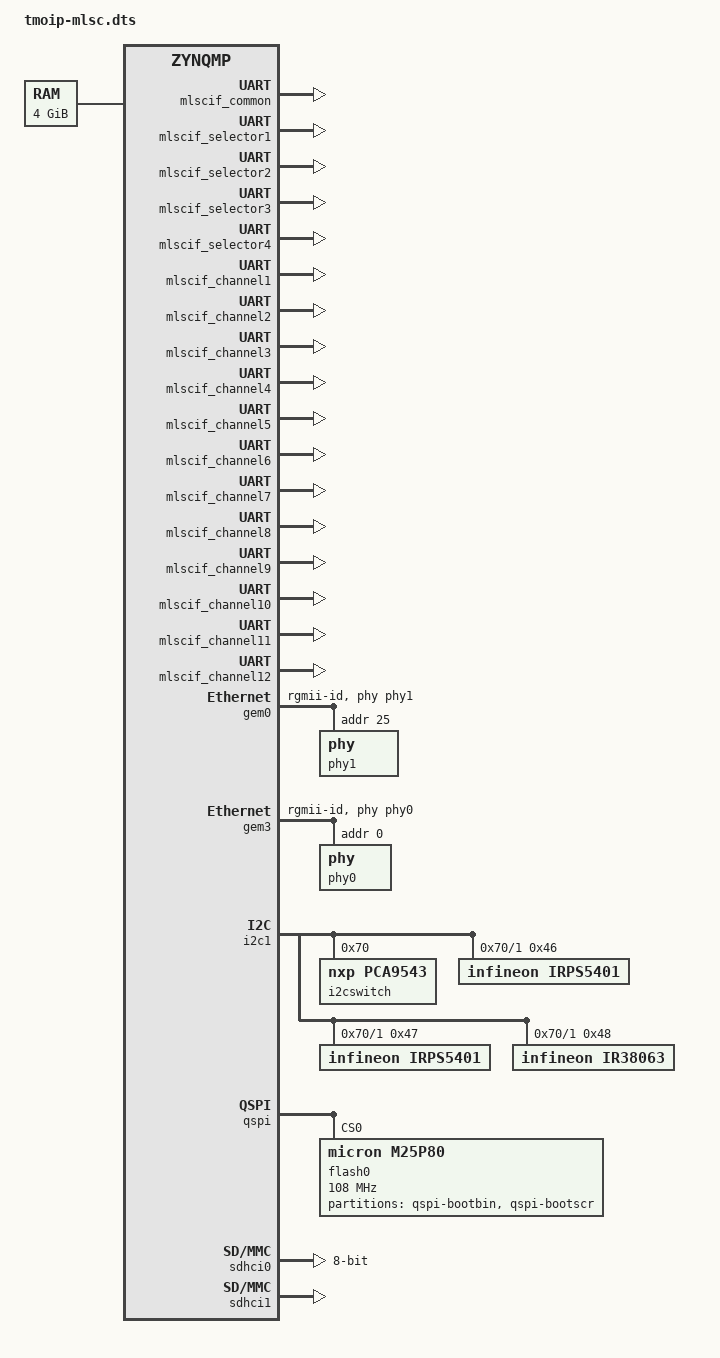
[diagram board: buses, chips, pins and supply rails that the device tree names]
/dts-v1/;
#include "zynqmp.dtsi"
#include "zynqmp-clk-ccf.dtsi"
#include "pl.dtsi"
#include "pcw.dtsi"
#include <dt-bindings/phy/phy.h>
#include <dt-bindings/net/ti-dp83867.h>
#include <dt-bindings/input/input.h>
#include <dt-bindings/gpio/gpio.h>
#include <dt-bindings/pinctrl/pinctrl-zynqmp.h>
#include <dt-bindings/interrupt-controller/irq.h>

/* From include/dt-bindings/clk/versaclock.h */
#define VC5_LVPECL   0
#define VC5_CMOS  1
#define VC5_HCSL33   2
#define VC5_LVDS  3
#define VC5_CMOS2 4
#define VC5_CMOSD 5
#define VC5_HCSL25   6

#define PLATFORM_TYPE_8_CHAN_3EG 0
#define PLATFORM_TYPE_TMOIP_3CH 1
#define PLATFORM_TYPE_TMOIP_12CH 2
#define PLATFORM_TYPE_AVNET_CC7EV 3
#define PLATFORM_TYPE_XILINX_ZCU102 4
#define PLATFORM_TYPE_TMOIP_MLSC 5
#define PLATFORM_TYPE_TMOIP_BSSA 6

/* <psgtr_phandle> <lane_number> <controller_type> <instance> <refclk> */
    
/ {
	chosen {
		bootargs = "earlycon console=ttyPS0,115200 clk_ignore_unused root=/dev/mmcblk1p2 rw rootwait";
		stdout-path = "serial0:115200n8";
	};
	aliases {
		ethernet0 = &gem3;
		ethernet1 = &gem0;
		serial0 = &uart0;
		serial1 = &uart1;
	};
	memory {
		device_type = "memory";
		reg = <0x0 0x0 0x0 0x7ff00000>, <0x00000008 0x00000000 0x0 0x80000000>;
	};

  	reserved-driver@0 {
      	compatible = "xlnx,reserved-memory";
		memory-region = <&reserved_fb>;
   	};	
   	reserved-memory {
        #address-cells = <2>;
        #size-cells = <2>;
		ranges;
  	   reserved_fb: buffer@0 {
           no-map;
		   reg = <0x0 0x10000000 0x0 0x4000000>;
      		   };
   	};

    framebuffer0: framebuffer@10000000 {
         compatible = "simple-framebuffer";
         #address-cells = <2>;
         #size-cells = <2>;
	 reg = <0x0 0x10000000 0x0 (160 * 128 * 2)>;
	 width = <160>;
	 height = <128>;
	 stride = < (160 * 2) >;
	 format = "r5g6b5";
	};
    framebuffer1: framebuffer@11000000 {
         compatible = "simple-framebuffer";
         #address-cells = <2>;
         #size-cells = <2>;
	 reg = <0x0 0x11000000 0x0 (160 * 128 * 2)>;
	 width = <160>;
	 height = <128>;
	 stride = < (160 * 2) >;
	 format = "r5g6b5";
	};
    framebuffer2: framebuffer@12000000 {
         compatible = "simple-framebuffer";
         #address-cells = <2>;
         #size-cells = <2>;
	 reg = <0x0 0x12000000 0x0 (160 * 128 * 2)>;
	 width = <160>;
	 height = <128>;
	 stride = < (160 * 2) >;
	 format = "r5g6b5";
	};
    framebuffer3: framebuffer@13000000 {
         compatible = "simple-framebuffer";
         #address-cells = <2>;
         #size-cells = <2>;
	 reg = <0x0 0x13000000 0x0 (160 * 128 * 2)>;
	 width = <160>;
	 height = <128>;
	 stride = < (160 * 2) >;
	 format = "r5g6b5";
	};
};


&fpd_dma_chan1 {
	status = "okay";
	#dma-cells = <1>;
	xlnx,bus-width = <128>;
};

&fpd_dma_chan2 {
	status = "okay";
	#dma-cells = <1>;
	xlnx,bus-width = <128>;
};

&fpd_dma_chan3 {
	status = "okay";
	#dma-cells = <1>;
	xlnx,bus-width = <128>;
};

&fpd_dma_chan4 {
	status = "okay";
	#dma-cells = <1>;
	xlnx,bus-width = <128>;
};

&amba_pl {
    ddr_mirror0: ddr_mirror@88000000 {
          compatible = "ddr_mirror-1.0";
	      clock-names = "axi_lite_aclk", "axis_in_aclk";
          clocks = <&misc_clk_0>, <&misc_clk_0>;
          reg = <0x0 0x88000000 0x0 0x1000 0x0 0xb8000000 0x0 0x4000000>;
          dmas = <&fpd_dma_chan4 0>;
          dma-names = "dma";
	};
	tmoip_system: tmoip_system@800D0000 {
	   compatible = "tmoip_system-1.0";
       reg = <0x0 0x800D0000 0x0 0x10000 0x0 0xa0100000 0x0 0x10000>;
       interrupt-parent = <&gic>;
       interrupts = <0 92 1>;
       num_channels = <12>;
       platform_type = <PLATFORM_TYPE_TMOIP_MLSC>;
    };
	ch0: channel@80000000 {
	      compatible = "channel-1.0";
	      clock-names = "axi_lite_aclk";
	      clocks = <&misc_clk_0>, <&misc_clk_0>;
	      reg = <0x0 0x80000000 0x0 0x10000>,
              <0x0 0x80010000 0x0 0x10000>,
              <0x0 0x80080000 0x0 0x10000>;
              reg-names = "channel_in", "channel_out", "line_test";                                        
 	      channel_number = <0>;
	      refclk_hz = <300000000>;
              pcmout_init_bitrate = <1000000>;
        };
	bitsync0: bit_sync@80410000 {
	      compatible = "bit_sync-1.0";
	      clock-names = "axi_lite_aclk";
	      clocks = <&misc_clk_0>, <&misc_clk_0>;
	      reg = <0x0 0x80410000 0x0 0x10000>;
              kp_base_msw = <0x00800000>;
              kp_base_lsw = <0x00000000>;
              ki_base_msw = <0x00030000>;
              ki_base_lsw = <0x00000000>;
 	      channel_number = <0>;
 	      perr_thresh = <1500000000>;
	      refclk_hz = <300000000>;
	};
	ch1: channel@80020000 {
	      compatible = "channel-1.0";
	      clock-names = "axi_lite_aclk";
	      clocks = <&misc_clk_0>, <&misc_clk_0>;
	      reg = <0x0 0x80020000 0x0 0x10000>,
                <0x0 0x80030000 0x0 0x10000>,
                <0x0 0x800E0000 0x0 0x10000>;
          reg-names = "channel_in", "channel_out", "line_test";                                        
 		  channel_number = <1>;
		  refclk_hz = <300000000>;
          pcmout_init_bitrate = <1000000>;
    };
	ch2: channel@80040000 {
	      compatible = "channel-1.0";
	      clock-names = "axi_lite_aclk";
	      clocks = <&misc_clk_0>, <&misc_clk_0>;
	      reg = <0x0 0x80040000 0x0 0x10000>,
                <0x0 0x80050000 0x0 0x10000>,
                <0x0 0x800F0000 0x0 0x10000>;
          reg-names = "channel_in", "channel_out", "line_test";                                        
 		  channel_number = <2>;
		  refclk_hz = <300000000>;
          pcmout_init_bitrate = <1000000>;
    };
	ch3: channel@80090000 {
	      compatible = "channel-1.0";
	      clock-names = "axi_lite_aclk";
	      clocks = <&misc_clk_0>, <&misc_clk_0>;
	      reg = <0x0 0x80090000 0x0 0x10000>,
                <0x0 0x800a0000 0x0 0x10000>,
                <0x0 0x800b0000 0x0 0x10000>;
          reg-names = "channel_in", "channel_out", "line_test";                                        
 		  channel_number = <3>;
		  refclk_hz = <300000000>;
          pcmout_init_bitrate = <1000000>;
    };
	clocktrack0: clocktrack@80060000 {
	      compatible = "clocktrack-1.0";
	      clock-names = "axi_lite_aclk";
	      clocks = <&misc_clk_0>, <&misc_clk_0>;
     	  reg = <0x0 0x80060000 0x0 0x10000>;
		  refclk_hz = <300000000>;
	      setpointcenter = <250000>;
	      setpointoffset = <50000>;
	      mincenter = <1500>;
	      minoffset = <300>;
    };
    dma_central0: dma_central@80070000 {
          compatible = "dma_central-1.0";
	      clock-names = "axi_lite_aclk", "axis_in_aclk";
          clocks = <&misc_clk_0>, <&misc_clk_0>;
          interrupt-parent = <&gic>;
          interrupts = <0 89 1>;
          reg = <0x0 0x80070000 0x0 0x1000 0x0 0xb0000000 0x0 0x100000>;
          start_channel = <0>;
          num_channels = <4>;
          int_retry_cnt = <500000>;
          dmas = <&fpd_dma_chan1 0>;
          dma-names = "dma";
	};
	ch4: channel@800c0000 {
	      compatible = "channel-1.0";
	      clock-names = "axi_lite_aclk";
	      clocks = <&misc_clk_0>, <&misc_clk_0>;
	      reg = <0x0 0x800c0000 0x0 0x10000>,
                <0x0 0x802a0000 0x0 0x10000>,
                <0x0 0x80100000 0x0 0x10000>;
          reg-names = "channel_in", "channel_out", "line_test";                                        
 		  channel_number = <4>;
		  refclk_hz = <300000000>;
          pcmout_init_bitrate = <1000000>;
    };
	ch5: channel@80110000 {
	      compatible = "channel-1.0";
	      clock-names = "axi_lite_aclk";
	      clocks = <&misc_clk_0>, <&misc_clk_0>;
	      reg = <0x0 0x80110000 0x0 0x10000>,
                <0x0 0x80120000 0x0 0x10000>,
                <0x0 0x80130000 0x0 0x10000>;
          reg-names = "channel_in", "channel_out", "line_test";                                        
 		  channel_number = <5>;
		  refclk_hz = <300000000>;
          pcmout_init_bitrate = <1000000>;
    };
	ch6: channel@80140000 {
	      compatible = "channel-1.0";
	      clock-names = "axi_lite_aclk";
	      clocks = <&misc_clk_0>, <&misc_clk_0>;
	      reg = <0x0 0x80140000 0x0 0x10000>,
                <0x0 0x80150000 0x0 0x10000>,
                <0x0 0x80160000 0x0 0x10000>;
          reg-names = "channel_in", "channel_out", "line_test";                                        
 		  channel_number = <6>;
		  refclk_hz = <300000000>;
          pcmout_init_bitrate = <1000000>;
    };
	ch7: channel@80170000 {
	      compatible = "channel-1.0";
	      clock-names = "axi_lite_aclk";
	      clocks = <&misc_clk_0>, <&misc_clk_0>;
	      reg = <0x0 0x80170000 0x0 0x10000>,
                <0x0 0x80180000 0x0 0x10000>,
                <0x0 0x80190000 0x0 0x10000>;
          reg-names = "channel_in", "channel_out", "line_test";                                        
 		  channel_number = <7>;
		  refclk_hz = <300000000>;
          pcmout_init_bitrate = <1000000>;
    };
	clocktrack1: clocktrack@801a0000 {
	      compatible = "clocktrack-1.0";
	      clock-names = "axi_lite_aclk";
	      clocks = <&misc_clk_0>, <&misc_clk_0>;
     	  reg = <0x0 0x801a0000 0x0 0x10000>;
		  refclk_hz = <300000000>;
	      setpointcenter = <250000>;
	      setpointoffset = <50000>;
	      mincenter = <1500>;
	      minoffset = <300>;
    };
    dma_central1: dma_central@801b0000 {
          compatible = "dma_central-1.0";
	      clock-names = "axi_lite_aclk", "axis_in_aclk";
          clocks = <&misc_clk_0>, <&misc_clk_0>;
          interrupt-parent = <&gic>;
          interrupts = <0 90 1>;
          reg = <0x0 0x801b0000 0x0 0x1000 0x0 0xa0000000 0x0 0x100000>;
          start_channel = <4>;
          num_channels = <4>;
          int_retry_cnt = <500000>;
          dmas = <&fpd_dma_chan2 0>;
          dma-names = "dma";
	};
	ch8: channel@80220000 {
	      compatible = "channel-1.0";
	      clock-names = "axi_lite_aclk";
	      clocks = <&misc_clk_0>, <&misc_clk_0>;
	      reg = <0x0 0x80220000 0x0 0x10000>,
                <0x0 0x80230000 0x0 0x10000>,
                <0x0 0x80240000 0x0 0x10000>;
          reg-names = "channel_in", "channel_out", "line_test";                                        
 		  channel_number = <8>;
		  refclk_hz = <300000000>;
          pcmout_init_bitrate = <1000000>;
    };
	ch9: channel@80250000 {
	      compatible = "channel-1.0";
	      clock-names = "axi_lite_aclk";
	      clocks = <&misc_clk_0>, <&misc_clk_0>;
	      reg = <0x0 0x80250000 0x0 0x10000>,
                <0x0 0x80260000 0x0 0x10000>,
                <0x0 0x80270000 0x0 0x10000>;
          reg-names = "channel_in", "channel_out", "line_test";                                        
 		  channel_number = <9>;
		  refclk_hz = <300000000>;
          pcmout_init_bitrate = <1000000>;
    };
	ch10: channel@801c0000 {
	      compatible = "channel-1.0";
	      clock-names = "axi_lite_aclk";
	      clocks = <&misc_clk_0>, <&misc_clk_0>;
	      reg = <0x0 0x801c0000 0x0 0x10000>,
                <0x0 0x801d0000 0x0 0x10000>,
                <0x0 0x801e0000 0x0 0x10000>;
          reg-names = "channel_in", "channel_out", "line_test";                                        
 		  channel_number = <10>;
		  refclk_hz = <300000000>;
          pcmout_init_bitrate = <1000000>;
    };
	ch11: channel@801f0000 {
	      compatible = "channel-1.0";
	      clock-names = "axi_lite_aclk";
	      clocks = <&misc_clk_0>, <&misc_clk_0>;
	      reg = <0x0 0x801f0000 0x0 0x10000>,
                <0x0 0x80200000 0x0 0x10000>,
                <0x0 0x80210000 0x0 0x10000>;
          reg-names = "channel_in", "channel_out", "line_test";                                        
 		  channel_number = <11>;
		  refclk_hz = <300000000>;
          pcmout_init_bitrate = <1000000>;
    };
	clocktrack2: clocktrack@80280000 {
	      compatible = "clocktrack-1.0";
	      clock-names = "axi_lite_aclk";
	      clocks = <&misc_clk_0>, <&misc_clk_0>;
     	  reg = <0x0 0x80280000 0x0 0x10000>;
		  refclk_hz = <300000000>;
	      setpointhi = <300000>;
	      setpointcenter = <250000>;
	      setpointoffset = <50000>;
	      mincenter = <1500>;
	      minoffset = <300>;
    };
    dma_central2: dma_central@80290000 {
          compatible = "dma_central-1.0";
	      clock-names = "axi_lite_aclk", "axis_in_aclk";
          clocks = <&misc_clk_0>, <&misc_clk_0>;
          interrupt-parent = <&gic>;
          interrupts = <0 91 1>;
          reg = <0x0 0x80290000 0x0 0x1000 0x0 0xb1000000 0x0 0x100000>;
          start_channel = <8>;
          num_channels = <4>;
          int_retry_cnt = <500000>;
          dmas = <&fpd_dma_chan3 0>;
          dma-names = "dma";
	};
    gth_if_224: gth_if@802e0000 {
       	  compatible = "gth_if-1.0";
     	  reg = <0x0 0x802e0000 0x0 0x10000>;
    };
    gth_if_225: gth_if@80310000 {
       	  compatible = "gth_if-1.0";
     	  reg = <0x0 0x80310000 0x0 0x10000>;
    };
    si5338: si5338@803C0000 {
       	  compatible = "si5338-1.0";
     	  reg = <0x0 0x803C0000 0x0 0x10000>;
    };
    mlscif_common: mlscif_common@84010000 {
	   compatible = "mlscif_common-1.0";
	   reg = <0x0 0x84010000 0x0 0x10000>;
    };
	mlscif_selector1: mlscif_selector@84210000 {
	   compatible = "mlscif_selector-1.0";
	   reg = <0x0 0x84210000 0x0 0x10000>;
    };
	mlscif_selector2: mlscif_selector@84220000 {
	   compatible = "mlscif_selector-1.0";
	   reg = <0x0 0x84220000 0x0 0x10000>;
    };
	mlscif_selector3: mlscif_selector@84230000 {
	   compatible = "mlscif_selector-1.0";
	   reg = <0x0 0x84230000 0x0 0x10000>;
    };
	mlscif_selector4: mlscif_selector@84240000 {
	   compatible = "mlscif_selector-1.0";
	   reg = <0x0 0x84240000 0x0 0x10000>;
    };
	mlscif_channel1: mlscif_channel@85010000 {
	   compatible = "mlscif_channel-1.0";
	   reg = <0x0 0x85010000 0x0 0x10000>;
    };
	mlscif_channel2: mlscif_channel@85020000 {
	   compatible = "mlscif_channel-1.0";
	   reg = <0x0 0x85020000 0x0 0x10000>;
    };
	mlscif_channel3: mlscif_channel@85030000 {
	   compatible = "mlscif_channel-1.0";
	   reg = <0x0 0x85030000 0x0 0x10000>;
    };
	mlscif_channel4: mlscif_channel@85040000 {
	   compatible = "mlscif_channel-1.0";
	   reg = <0x0 0x85040000 0x0 0x10000>;
    };
	mlscif_channel5: mlscif_channel@85050000 {
	   compatible = "mlscif_channel-1.0";
	   reg = <0x0 0x85050000 0x0 0x10000>;
    };
	mlscif_channel6: mlscif_channel@85060000 {
	   compatible = "mlscif_channel-1.0";
	   reg = <0x0 0x85060000 0x0 0x10000>;
    };
	mlscif_channel7: mlscif_channel@85070000 {
	   compatible = "mlscif_channel-1.0";
	   reg = <0x0 0x85070000 0x0 0x10000>;
    };
	mlscif_channel8: mlscif_channel@85080000 {
	   compatible = "mlscif_channel-1.0";
	   reg = <0x0 0x85080000 0x0 0x10000>;
    };
	mlscif_channel9: mlscif_channel@85090000 {
	   compatible = "mlscif_channel-1.0";
	   reg = <0x0 0x85090000 0x0 0x10000>;
    };
	mlscif_channel10: mlscif_channel@850a0000 {
	   compatible = "mlscif_channel-1.0";
	   reg = <0x0 0x850a0000 0x0 0x10000>;
    };
	mlscif_channel11: mlscif_channel@850b0000 {
	   compatible = "mlscif_channel-1.0";
	   reg = <0x0 0x850b0000 0x0 0x10000>;
    };
	mlscif_channel12: mlscif_channel@850c0000 {
	   compatible = "mlscif_channel-1.0";
	   reg = <0x0 0x850c0000 0x0 0x10000>;
    };
	som2som_gth_224_0: som2som_gth@80300000 {
	   compatible = "som2som_gth-1.0";
	   reg = <0x0 0x80300000 0x0 0x10000>;
    };
	som2som_gth_224_1: som2som_gth@80320000 {
	   compatible = "som2som_gth-1.0";
	   reg = <0x0 0x80320000 0x0 0x10000>;
    };
	som2som_gth_224_2: som2som_gth@803D0000 {
	   compatible = "som2som_gth-1.0";
	   reg = <0x0 0x803D0000 0x0 0x10000>;
    };
	som2som_gth_224_3: som2som_gth@803E0000 {
	   compatible = "som2som_gth-1.0";
	   reg = <0x0 0x803E0000 0x0 0x10000>;
    };
	mlsc_system0: system_mlsc@803F0000 {
	   compatible = "system_mlsc-1.0";
	   reg = <0x0 0x803F0000 0x0 0x10000>;
    };
	reg_mirror_check0: reg_mirror_check@80400000 {
	   compatible = "reg_mirror_check-1.0";
	   reg = <0x0 0x80400000 0x0 0x10000>;
    };
};

&gpio {
	status = "okay";
};

&gem0 {
	status = "okay";
	local-mac-address = [00 0a 35 00 02 90];
	phy-mode = "rgmii-id";
	xlnx,ptp-enet-clock = <0x0>;
	phy-handle = <&phy1>;
	phy1: phy@19 {
		reg = <0x19>;
		ti,rx-internal-delay = <DP83867_RGMIIDCTL_2_00_NS>;
		ti,tx-internal-delay = <DP83867_RGMIIDCTL_2_00_NS>;
		ti,fifo-depth = <0x1>;
	};
};

&gem3 {
	status = "okay";
	local-mac-address = [00 0a 35 00 02 91];
	phy-mode = "rgmii-id";
	xlnx,ptp-enet-clock = <0x0>;
	phy-mode = "rgmii-id";
	phy-handle = <&phy0>;
	phy0: phy@0 {
		reg = <0x0>;
		ti,rx-internal-delay = <0x5>;
		ti,tx-internal-delay = <0x5>;
		ti,fifo-depth = <0x1>;
	};
};

&i2c1 {
   i2cswitch@70 { /* U7 on UZ3EG SOM, U8 on UZ7EV SOM */
      compatible = "nxp,pca9543";
      #address-cells = <1>;
      #size-cells = <0>;
      reg = <0x70>;
      i2c@0 { /* i2c mw 70 0 1 */
         #address-cells = <1>;
         #size-cells = <0>;
         reg = <0>;
      };

      i2c@1 {
         #address-cells = <0x1>;
         #size-cells = <0x0>;
         reg = <0x1>;

         irps5401@46 { /* IRPS5401 - U24 on UZ7EV SOM*/
            compatible = "infineon,irps5401";
            reg = <0x46>;
         };

         irps5401@47 { /* IRPS5401 - U25 on UZ7EV SOM*/
            compatible = "infineon,irps5401";
            reg = <0x47>;
         };

         ir38063@48 { /* IR38063 - U26 on UZ7EV SOM*/
            compatible = "infineon,ir38063";
            reg = <0x48>;
         };
      };
   };
};

&qspi {
   #address-cells = <1>;
   #size-cells = <0>;
   status = "okay";
   is-dual = <1>; /* Set for dual-parallel QSPI config */
   num-cs = <2>;
   xlnx,fb-clk = <0x1>;
   flash0: flash@0 {
      /* The Flash described below doesn't match our board ("micron,n25qu256a"), but is needed */
      /* so the Flash MTD partitions are correctly identified in /proc/mtd */
      compatible = "micron,m25p80","jedec,spi-nor"; /* 32MB */
      #address-cells = <1>;
      #size-cells = <1>;
      reg = <0x0>;
      spi-tx-bus-width = <1>;
      spi-rx-bus-width = <4>; /* FIXME also DUAL configuration possible */
      spi-max-frequency = <108000000>; /* Set to 108000000 Based on DC1 spec */
      /* MTD Partitioning:
       *   Boot.bin needs at least 20MB
       *   boot.scr must go at 0x3E80000
       */
      partition@qspi-bootbin {
	      label = "qspi-bootbin";
	      reg = <0x0 0x2000000>;
      };
      partition@qspi-bootscr {
	      label = "qspi-bootscr";
	      reg = <0x3E80000 0x80000>;
      };
   };
};

/* SD0 eMMC, 8-bit wide data bus */
&sdhci0 {
   status = "okay";
   bus-width = <8>;
   max-frequency = <50000000>;
};

/* SD1 with level shifter */
&sdhci1 {
   status = "okay";
   disable-wp;
   max-frequency = <50000000>;
   no-1-8-v;   /* for 1.0 silicon */
};

